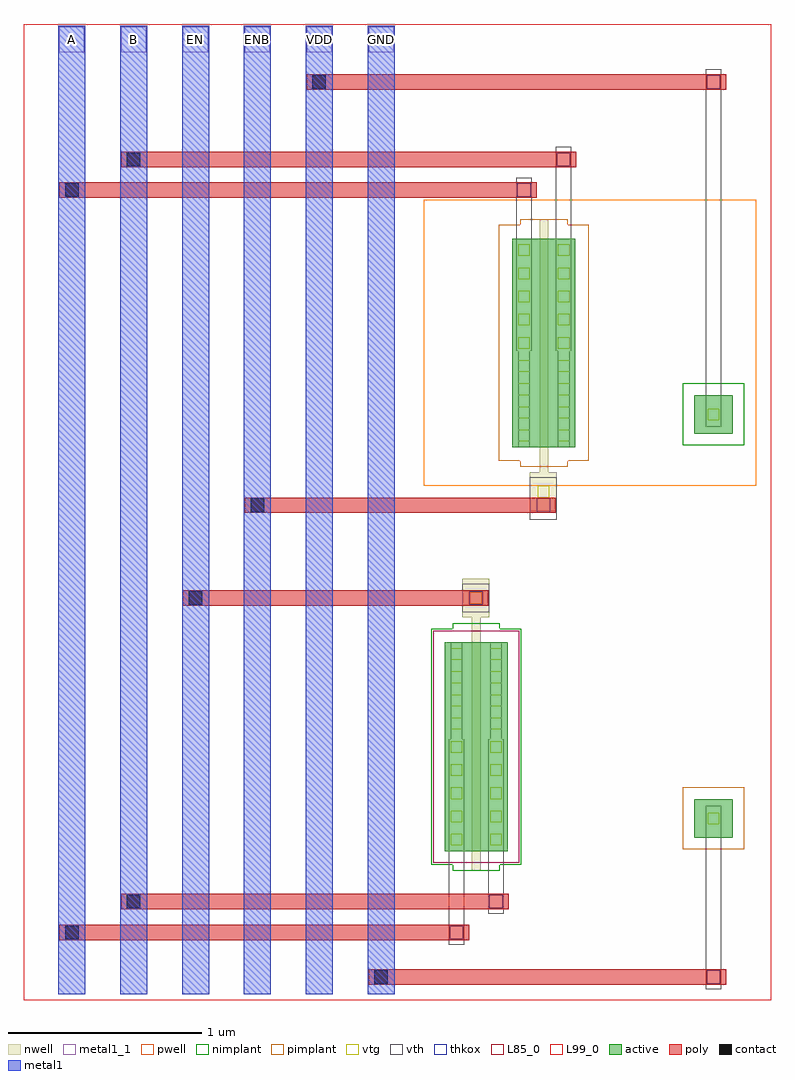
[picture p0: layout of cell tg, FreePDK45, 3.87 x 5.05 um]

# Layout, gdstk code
import gdstk
lib = gdstk.Library(unit=1e-6, precision=5e-10)
def R(c, l, rs):  # rectangles x0, y0, x1, y1
    for r in rs: c.add(gdstk.rectangle(r[:2], r[2:], *l))
def A(c, l, x, y, w, h, nx, ny, dx, dy):  # array of equal rectangles
    R(c, l, [(x+i*dx, y+j*dy, x+i*dx+w, y+j*dy+h) for i in range(nx) for j in range(ny)])
active = (1, 0)
pwell = (2, 0)
nwell = (3, 0)
nimplant = (4, 0)
pimplant = (5, 0)
vtg = (6, 0)
vth = (7, 0)
thkox = (8, 0)
poly = (9, 0)
contact = (10, 0)
metal1 = (11, 0)
metal1_1 = (11, 1)
L85_0 = (85, 0)
L99_0 = (99, 0)

nmos1v_cdns_794040201380 = lib.new_cell('nmos1v_CDNS_794040201380')
R(nmos1v_cdns_794040201380, active, [(-0.14,0,0,1.08), (0,0,0.045,1.08), (0.045,0,0.185,1.08)])
R(nmos1v_cdns_794040201380, nwell, [(0,-0.1,0.045,-0.05), (0,-0.05,0.045,0), (0,0,0.045,1.08), (0,1.08,0.045,1.13), (0,1.13,0.045,1.18)])
R(nmos1v_cdns_794040201380, nimplant, [(-0.1,-0.1,0.145,1.18), (-0.21,-0.07,0.255,1.15)])
A(nmos1v_cdns_794040201380, vtg, -0.11, 0.03, 0.06, 0.06, 1, 9, 0, 0.12)
A(nmos1v_cdns_794040201380, vtg, 0.095, 0.03, 0.06, 0.06, 1, 9, 0, 0.12)
R(nmos1v_cdns_794040201380, vth, [(-0.11,0,-0.05,1.08), (0.095,0,0.155,1.08)])
R(nmos1v_cdns_794040201380, L85_0, [(-0.2,-0.06,0.245,1.14)])

pmos1v_cdns_794040201381 = lib.new_cell('pmos1v_CDNS_794040201381')
R(pmos1v_cdns_794040201381, active, [(-0.14,0,0,1.08), (0,0,0.045,1.08), (0.045,0,0.185,1.08)])
R(pmos1v_cdns_794040201381, pwell, [(-0.2,-0.06,0.245,1.14)])
R(pmos1v_cdns_794040201381, nwell, [(0,-0.1,0.045,-0.05), (0,-0.05,0.045,0), (0,0,0.045,1.08), (0,1.08,0.045,1.13), (0,1.13,0.045,1.18)])
R(pmos1v_cdns_794040201381, pimplant, [(-0.1,-0.1,0.145,1.18), (-0.21,-0.07,0.255,1.15)])
A(pmos1v_cdns_794040201381, vtg, -0.11, 0.03, 0.06, 0.06, 1, 9, 0, 0.12)
A(pmos1v_cdns_794040201381, vtg, 0.095, 0.03, 0.06, 0.06, 1, 9, 0, 0.12)
R(pmos1v_cdns_794040201381, vth, [(-0.11,0,-0.05,1.08), (0.095,0,0.155,1.08)])

c_tg = lib.new_cell('tg')
R(c_tg, active, [(3.47,0.84,3.67,1.04), (3.47,2.93,3.67,3.13)])
R(c_tg, pwell, [(2.07,2.66,3.79,4.14)])
R(c_tg, nwell, [(2.32,1.9,2.365,2.18), (2.27,1.98,2.41,2.18), (2.62,2.53,2.76,2.73), (2.67,2.53,2.715,2.81)])
R(c_tg, nimplant, [(3.41,2.87,3.73,3.19)])
R(c_tg, pimplant, [(3.41,0.78,3.73,1.1)])
R(c_tg, vtg, [(3.54,0.91,3.6,0.97), (2.31,2.05,2.37,2.11), (2.66,2.6,2.72,2.66), (3.54,3,3.6,3.06)])
R(c_tg, vth, [(3.53,0.055,3.61,0.185), (3.53,0.08,3.61,0.98), (2.2,0.285,2.28,0.415), (2.2,0.31,2.28,1.35), (2.405,0.445,2.485,0.575), (2.405,0.47,2.485,1.35), (3.53,0.875,3.61,1.005), (2.27,2.005,2.41,2.155), (2.27,2.005,2.41,2.155), (2.27,2.01,2.41,2.15), (2.62,2.485,2.76,2.635), (2.62,2.49,2.76,2.7), (2.62,2.555,2.76,2.705), (3.53,2.965,3.61,3.095), (3.53,2.99,3.61,4.79), (2.55,3.36,2.63,4.23), (2.755,3.36,2.835,4.39), (2.55,4.125,2.63,4.255), (2.755,4.285,2.835,4.415), (3.53,4.685,3.61,4.815)])
R(c_tg, thkox, [(3.535,0.085,3.605,0.155), (2.205,0.315,2.275,0.385), (2.41,0.475,2.48,0.545), (2.305,2.045,2.375,2.115), (2.655,2.525,2.725,2.595), (2.555,4.155,2.625,4.225), (2.76,4.315,2.83,4.385), (3.535,4.715,3.605,4.785)])
R(c_tg, poly, [(1.785,0.08,1.915,0.16), (1.81,0.08,3.61,0.16), (3.505,0.08,3.635,0.16), (0.185,0.31,0.315,0.39), (0.21,0.31,2.28,0.39), (2.175,0.31,2.305,0.39), (0.505,0.47,0.635,0.55), (0.53,0.47,2.485,0.55), (2.38,0.47,2.51,0.55), (0.825,2.04,0.955,2.12), (0.85,2.04,2.38,2.12), (2.275,2.04,2.405,2.12), (1.145,2.52,1.275,2.6), (1.17,2.52,2.73,2.6), (2.625,2.52,2.755,2.6), (0.185,4.15,0.315,4.23), (0.21,4.15,2.63,4.23), (2.525,4.15,2.655,4.23), (0.505,4.31,0.635,4.39), (0.53,4.31,2.835,4.39), (2.73,4.31,2.86,4.39), (1.465,4.71,1.595,4.79), (1.49,4.71,3.61,4.79), (3.505,4.71,3.635,4.79)])
R(c_tg, contact, [(1.815,0.085,1.885,0.155), (0.215,0.315,0.285,0.385), (0.535,0.475,0.605,0.545), (0.855,2.045,0.925,2.115), (1.175,2.525,1.245,2.595), (0.215,4.155,0.285,4.225), (0.535,4.315,0.605,4.385), (1.495,4.715,1.565,4.785)])
A(c_tg, metal1, 0.18, 0.03, 0.14, 5.01, 6, 1, 0.32, 0)
R(c_tg, metal1, [(1.81,0.055,1.89,0.185), (0.21,0.285,0.29,0.415), (0.53,0.445,0.61,0.575), (0.85,2.015,0.93,2.145), (1.17,2.495,1.25,2.625), (0.21,4.125,0.29,4.255), (0.53,4.285,0.61,4.415), (1.49,4.685,1.57,4.815)])
A(c_tg, metal1_1, 0.185, 4.905, 0.13, 0.13, 6, 1, 0.32, 0)
R(c_tg, L99_0, [(0,0,3.87,5.05)])
c_tg.add(gdstk.Reference(nmos1v_cdns_794040201380, (2.32,0.77)))
c_tg.add(gdstk.Reference(pmos1v_cdns_794040201381, (2.67,2.86)))
c_tg.add(gdstk.Label('GND', (1.85,4.97), layer=11, texttype=3))
c_tg.add(gdstk.Label('VDD', (1.53,4.97), layer=11, texttype=3))
c_tg.add(gdstk.Label('ENB', (1.21,4.97), layer=11, texttype=3))
c_tg.add(gdstk.Label('EN', (0.89,4.97), layer=11, texttype=3))
c_tg.add(gdstk.Label('B', (0.57,4.97), layer=11, texttype=3))
c_tg.add(gdstk.Label('A', (0.25,4.97), layer=11, texttype=3))

lib.write_gds('tg.gds')
